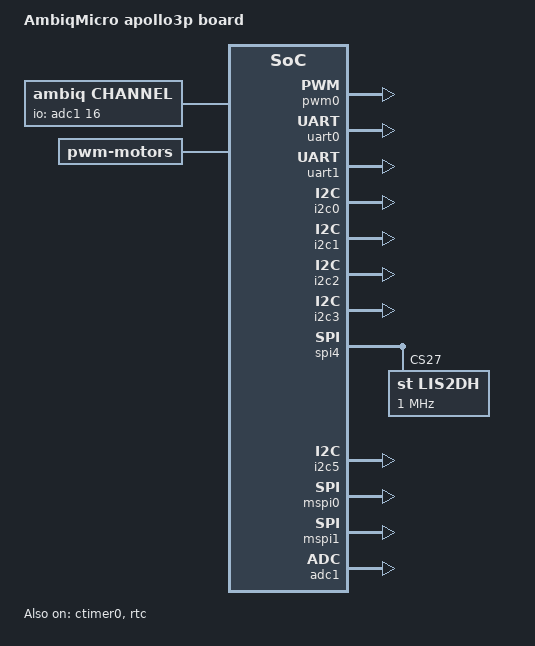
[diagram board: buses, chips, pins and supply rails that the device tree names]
/*
 * Copyright (c) 2020 CKT
 *
 * SPDX-License-Identifier: Apache-2.0
 */
 
/dts-v1/;
#include <ambiq/apollo3p.dtsi>
#include <ambiq/timer_clock.h>
#include <dt-bindings/pwm/pwm.h>

/ {
	model = "AmbiqMicro apollo3p board";
	compatible = "ambiq,apollo3p";
	
	chosen {
		zephyr,console = &uart0;
		zephyr,shell-uart = &uart0;
		zephyr,flash = &flash0;
		zephyr,sram = &sram0;
		zephyr,ccm = &ccm0;
		zephyr,flash-controller = &flash;
		zephyr,code-partition = &slot0_partition;
	};
	
	power-states {
		normal_sleep: state0 {
			compatible = "zephyr,power-state";
			power-state-name = "suspend-to-idle";
			substate-id = <0>;
			min-residency-us = <500>;
		};
		
		deep_sleep: state1 {
			compatible = "zephyr,power-state";
			power-state-name = "suspend-to-idle";
			substate-id = <1>;
			min-residency-us = <2000>;
		};
	};
	
	soc {
		flash-controller@40018000 {
			flash0: flash@00000000 {
				reg = <0x00000000 DT_SIZE_K(2048)>;
			};
		};
	};

	mspi-nor {
		compatible = "gd,mspi-nor";
		label = "MSPI-NOR";
		partitions {
			compatible = "fixed-partitions";
			#address-cells = <1>;
			#size-cells = <1>;

			update_partition: partition@0 {
				label = "update-img";
				reg = <0x0 DT_SIZE_K(2048)>;
			};
			user_partition: partition@200000 {
				label = "user-date";
				reg = <0x200000 DT_SIZE_K(62*1024)>;
			};
		};
	};
	
	channel: channel {
		compatible = "ambiq,channel";
		io-channels = <&adc1 16>;
		io-channel-names = "ADCSE0";
		status = "disabled";
		label = "channel";		   
	};

	pwmmotor {
		compatible = "pwm-motors";
		label = "MOTOR";
		motor: motor {
	      pwms = <&pwm0 0 1 PWM_POLARITY_NORMAL>;
		};
	};
};

&cpu0 {
	cpu-power-states = <&normal_sleep &deep_sleep>;
};


&flash0 {
	partitions {
		compatible = "fixed-partitions";
		#address-cells = <1>;
		#size-cells = <1>;

		otp_partition: partition@0 {
			label = "otp";
			reg = <0x0 DT_SIZE_K(48)>;
		};
		boot_partition: partition@c000 {
			label = "mcuboot";
			reg = <0x0000c000 DT_SIZE_K(192)>;
		};
		slot0_partition: partition@3c000 {
			label = "image-0";
			reg = <0x0003c000 DT_SIZE_K(1808)>;
		};
	};
};

&ctimer0 {
	status = "okay";
	clock_source = <RTC_100HZ>;
	pwm0: pwm {
	  ch0_pin = <25>;
	  ch1_pin = <255>;
      status = "okay";
	};
};

&gpio0 {
    status = "okay";
};

&gpio1 {
    status = "okay";
};

&gpio2 {
    status = "okay";
};

&uart0 {
    status = "okay";
};

&uart1 {
    status = "okay";
};

&rtc {
    status = "okay";
};

&i2c0 {
    status = "okay";
};

&i2c1 {
    status = "okay";
};

&i2c2 {
    status = "okay";
};

&i2c3 {
    status = "okay";
};

&spi4 {
    status = "okay";

    lis2dh@1b {
        compatible = "st,lis2dh";
        label = "LIS2DH";
        reg = <0x1b>;
        spi-max-frequency = <1000000>;
        /* irq-gpios = <&gpio 0 0>; */
        /* disconnect-sdo-sa0-pull-up; */
    };
};

&i2c5 {
    status = "okay";
};

&mspi0 {
    status = "okay";
};

&mspi1 {
    status = "okay";
};

&adc1 {
    status = "okay";
};

&channel {
    status = "okay";
};


